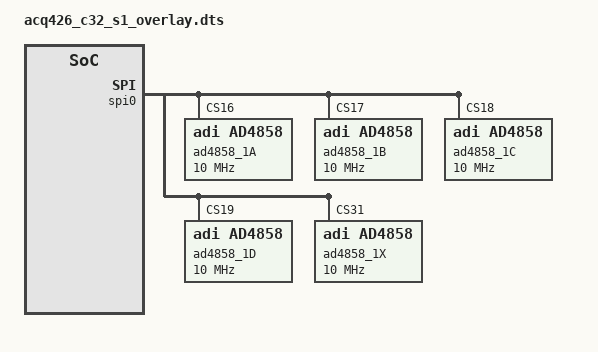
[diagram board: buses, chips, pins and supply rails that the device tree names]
// SPDX-License-Identifier: GPL-2.0
/dts-v1/;
/plugin/;	/* allow undefined label references and record them */

/ {
	fragment@0 {
		target = <&spi0>;
		__overlay__ {
			#address-cells = <1>;
			#size-cells = <0>;			
			status = "okay";

			ad4858_1A: adc@0{		
/*                
                refin-supply = <&refin>;
                clocks = <&ref_clk>;
                clock-names = "scki";
                dmas = <&rx_dma 0>;
                dma-names = "rx";
                pwms = <&axi_pwm_gen 0 0>;
                pwm-names = "cnv";
*/
				reg = <0x10>;
				spi-max-frequency = <10000000>;
				compatible = "adi,ad4858";
			};
			ad4858_1B: adc@1{
				reg = <0x11>;

				spi-max-frequency = <10000000>;
				compatible = "adi,ad4858";
			};
			ad4858_1C: adc@2{
				reg = <0x12>;

				spi-max-frequency = <10000000>;
				compatible = "adi,ad4858";
			};
			ad4858_1D: adc@3{
				reg = <0x13>;

				spi-max-frequency = <10000000>;
				compatible = "adi,ad4858";
			};			
			ad4858_1X: adc@f{
				reg = <0x1F>;

				spi-max-frequency = <10000000>;
				compatible = "adi,ad4858";
			};
		};
	};
};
